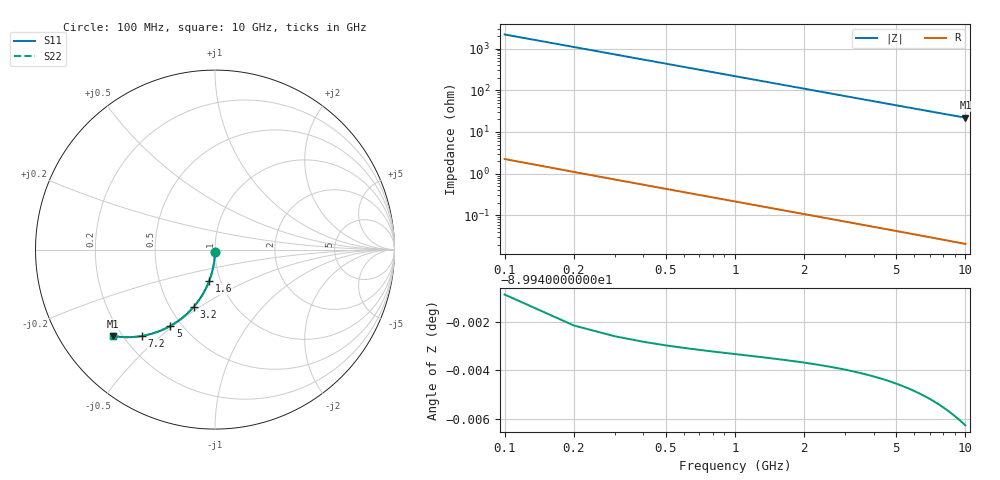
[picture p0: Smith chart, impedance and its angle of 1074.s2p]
# Hz S RI R 50.00
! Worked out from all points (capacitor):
!   100 points, 100 MHz to 10 GHz, reference 50 ohm
!   read as one part in shunt: C = 730 fF near 100 MHz
!   lowest |Z| = 22 ohm at 10 GHz (marker M1)
!   S11 on the Smith chart (normalised r, x): 100 MHz: 1.00, -0.02; 1.6 GHz: 0.88, -0.32; 3.2 GHz: 0.65, -0.47; 5 GHz: 0.44, -0.49; 7.2 GHz: 0.27, -0.44; 10 GHz: 0.16, -0.36
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1e8  -9.69e-05 -0.0113  0.9998 -0.0116  0.9998 -0.0116  -9.69e-05 -0.0113
2e8  -0.000502 -0.0227  0.9994 -0.0232  0.9994 -0.0232  -0.000502 -0.0227
3e8  -0.00117 -0.034  0.9987 -0.0348  0.9987 -0.0348  -0.00117 -0.034
4e8  -0.0021 -0.0453  0.9978 -0.0463  0.9978 -0.0463  -0.0021 -0.0453
5e8  -0.00329 -0.0565  0.9966 -0.0578  0.9966 -0.0578  -0.00329 -0.0565
6e8  -0.00474 -0.0677  0.9952 -0.0693  0.9952 -0.0693  -0.00474 -0.0677
7e8  -0.00644 -0.0789  0.9935 -0.0807  0.9935 -0.0807  -0.00644 -0.0789
9e8  -0.0106 -0.101  0.9893 -0.1033  0.9893 -0.1033  -0.0106 -0.101
1.2e9  -0.0187 -0.1335  0.9812 -0.1367  0.9812 -0.1367  -0.0187 -0.1335
1.6e9  -0.0327 -0.1754  0.9672 -0.1796  0.9672 -0.1796  -0.0327 -0.1754
1.8e9  -0.041 -0.1956  0.9589 -0.2004  0.9589 -0.2004  -0.041 -0.1956
2.4e9  -0.0707 -0.2527  0.9292 -0.259  0.9292 -0.259  -0.0707 -0.2527
2.8e9  -0.0938 -0.2874  0.9061 -0.2948  0.9061 -0.2948  -0.0938 -0.2874
3.2e9  -0.119 -0.3191  0.8808 -0.3277  0.8808 -0.3277  -0.119 -0.3191
3.4e9  -0.1323 -0.3339  0.8675 -0.343  0.8675 -0.343  -0.1323 -0.3339
4.2e9  -0.1888 -0.3853  0.8111 -0.3965  0.8111 -0.3965  -0.1888 -0.3853
5e9  -0.2481 -0.4247  0.7518 -0.4381  0.7518 -0.4381  -0.2481 -0.4247
5.1e9  -0.2555 -0.4289  0.7443 -0.4425  0.7443 -0.4425  -0.2555 -0.4289
6.7e9  -0.3722 -0.4739  0.6275 -0.4919  0.6275 -0.4919  -0.3722 -0.4739
7.2e9  -0.4065 -0.481  0.5932 -0.5004  0.5932 -0.5004  -0.4065 -0.481
8.4e9  -0.4827 -0.4878  0.5169 -0.5106  0.5169 -0.5106  -0.4827 -0.4878
1e10  -0.5699 -0.4809  0.4296 -0.5081  0.4296 -0.5081  -0.5699 -0.4809
